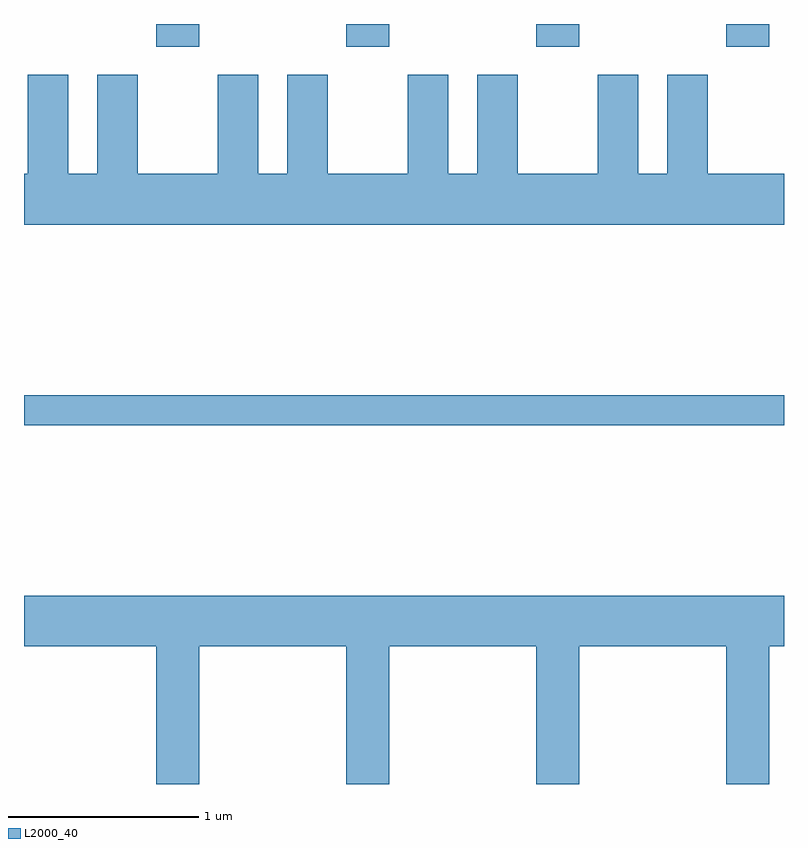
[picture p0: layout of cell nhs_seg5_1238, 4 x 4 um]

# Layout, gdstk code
import gdstk
lib = gdstk.Library(unit=1e-6, precision=1e-09)
def R(c, l, rs):  # rectangles x0, y0, x1, y1
    for r in rs: c.add(gdstk.rectangle(r[:2], r[2:], *l))
def A(c, l, x, y, w, h, nx, ny, dx, dy):  # array of equal rectangles
    R(c, l, [(x+i*dx, y+j*dy, x+i*dx+w, y+j*dy+h) for i in range(nx) for j in range(ny)])
def P(c, l, *ps):  # polygons
    for p in ps: c.add(gdstk.Polygon(p, *l))
L2000_40 = (2000, 40)

nhs_seg5_1238 = lib.new_cell('nhs_seg5_1238')
A(nhs_seg5_1238, L2000_40, 222.306, 1459.951, 0.228, 0.121, 4, 1, 1, 0)
R(nhs_seg5_1238, L2000_40, [(221.611,1457.961,225.611,1458.119)])
P(nhs_seg5_1238, L2000_40, [(225.611,1459.284),(225.209,1459.284),(225.209,1459.804),(224.996,1459.804),(224.996,1459.284),(224.844,1459.284),(224.844,1459.804),(224.631,1459.804),(224.631,1459.284),(224.209,1459.284),(224.209,1459.804),(223.996,1459.804),(223.996,1459.284),(223.844,1459.284),(223.844,1459.804),(223.631,1459.804),(223.631,1459.284),(223.209,1459.284),(223.209,1459.804),(222.996,1459.804),(222.996,1459.284),(222.844,1459.284),(222.844,1459.804),(222.631,1459.804),(222.631,1459.284),(222.209,1459.284),(222.209,1459.804),(221.996,1459.804),(221.996,1459.284),(221.844,1459.284),(221.844,1459.804),(221.631,1459.804),(221.631,1459.284),(221.611,1459.284),(221.611,1459.016),(225.611,1459.016)],
  [(222.534,1456.796),(223.306,1456.796),(223.306,1456.072),(223.534,1456.072),(223.534,1456.796),(224.306,1456.796),(224.306,1456.072),(224.534,1456.072),(224.534,1456.796),(225.306,1456.796),(225.306,1456.072),(225.534,1456.072),(225.534,1456.796),(225.611,1456.796),(225.611,1457.064),(221.611,1457.064),(221.611,1456.796),(222.306,1456.796),(222.306,1456.072),(222.534,1456.072)])

lib.write_gds('nhs_seg5_1238.gds')
